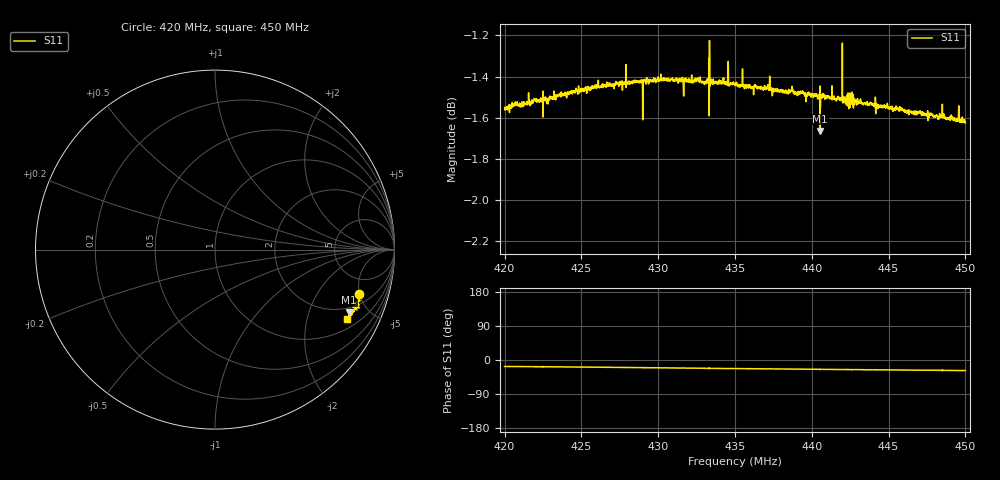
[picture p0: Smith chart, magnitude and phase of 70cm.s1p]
! Calibrated averaged scanner-service zoom
# Hz S RI R 50
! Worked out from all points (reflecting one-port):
!   3001 points, 420 MHz to 450 MHz, reference 50 ohm
!   lowest |S11| = -1.7 dB at 440.5 MHz (marker M1), VSWR 10.46, Z = 85.5 - j188 ohm
!   phase of S11 starts at -17 deg and turns -11 deg over the sweep
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4.2e8  0.7997 -0.2458
4.2237e8  0.8008 -0.2567
4.2375e8  0.8004 -0.2634
4.2598e8  0.7997 -0.2755
4.275e8  0.7994 -0.2842
4.288e8  0.7965 -0.2923
4.2891e8  0.7966 -0.2929
4.2912e8  0.7965 -0.2942
4.292e8  0.7954 -0.2945
4.3125e8  0.7924 -0.3064
4.3163e8  0.7907 -0.3066
4.3334e8  0.8056 -0.3246
4.3365e8  0.7855 -0.3191
4.35e8  0.782 -0.3249
4.3875e8  0.7722 -0.3436
4.4017e8  0.767 -0.3494
4.4054e8  0.7476 -0.3502
4.407e8  0.7653 -0.3514
4.4184e8  0.7611 -0.3571
4.4238e8  0.7618 -0.3532
4.425e8  0.7603 -0.3625
4.4272e8  0.7606 -0.3594
4.4281e8  0.7585 -0.3609
4.4625e8  0.7468 -0.3732
4.4722e8  0.7435 -0.3777
4.4753e8  0.743 -0.3779
4.4788e8  0.741 -0.3801
4.5e8  0.7331 -0.3881
